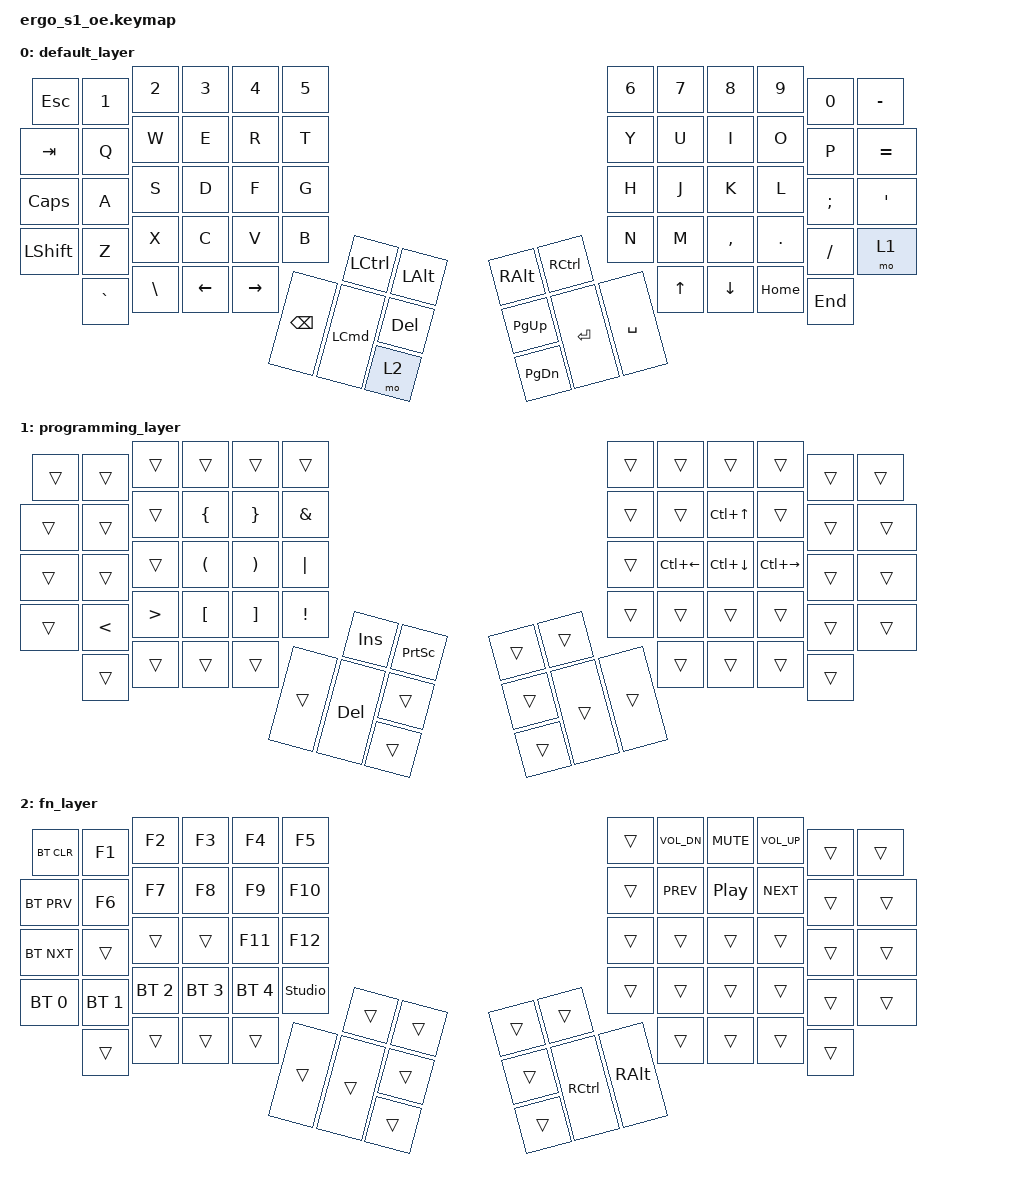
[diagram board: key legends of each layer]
/*
 * Copyright (c) 2021 The ZMK Contributors
 *
 * SPDX-License-Identifier: MIT
 */

#include <behaviors.dtsi>
#include <dt-bindings/zmk/keys.h>
#include <dt-bindings/zmk/bt.h>
#include <dt-bindings/zmk/ext_power.h>
#include <dt-bindings/zmk/outputs.h>
#include <behaviors/studio_unlock.dtsi>

 #define DEFAULT 0
 #define PROGRAMMING 1
 #define FN  2

/ {
       keymap {
              compatible = "zmk,keymap";

              default_layer {
// ---------------------------------------------------------------------------------------------------------------------------------
// | ESC  |  1   |  2   |  3   |  4   |  5   |                                                   |  6   |  7   |  8   |  9   |  0   | MINUS|
// | WIN  |  Q   |  W   |  E   |  R   |  T   |                                                   |  Y   |  U   |  I   |  O   |  P   | EQL  |
// | TAB  |  A   |  S   |  D   |  F   |  G   |                                                   |  H   |  J   |  K   |  L   | SCLN | SQT  |
// |LSHFT |  Z   |  X   |  C   |  V   |  B   |      | CTL  | ALT  |         | RALT | RCTL |      |  N   |  M   | COMM | DOT  | SLSH | PROG |
//        | GRV  | BSLS | LEFT | RGHT |      | BSPC | LCMD | DEL  |         | PGUP | ENT  | SPC  |      |  UP  |  DN  | LBKT | RBKT |
//                                                         |  FN  |         | PGDN |
                     bindings = <
        &kp ESC    &kp N1    &kp N2   &kp N3   &kp N4    &kp N5                                                                    &kp N6    &kp N7    &kp N8    &kp N9     &kp N0    &kp MINUS
        &kp TAB    &kp Q     &kp W    &kp E    &kp R     &kp T                                                                     &kp Y     &kp U     &kp I     &kp O      &kp P     &kp EQUAL
        &kp CAPS   &kp A     &kp S    &kp D    &kp F     &kp G                                                                     &kp H     &kp J     &kp K     &kp L      &kp SEMI  &kp SQT
        &kp LSHFT  &kp Z     &kp X    &kp C    &kp V     &kp B             &kp LCTRL &kp LALT  &kp RALT  &kp RCTRL                 &kp N     &kp M     &kp COMMA &kp PERIOD &kp SLASH &mo 1
                   &kp GRAVE &kp BSLH &kp LEFT &kp RIGHT         &kp BSPC  &kp LCMD  &kp DEL   &kp PG_UP &kp ENTER &kp SPACE       &kp UP    &kp DOWN  &kp HOME  &kp END
                                                                                     &mo 2     &kp PG_DN
                     >;
              };
              programming_layer {
              // ---------------------------------------------------------------------------------------------------------------------------------
// |    |      |      |      |      |      |                                                     |      |      |      |      |      |      |
// |    |      |      |  {   |  }   |  &   |                                                     |      |      |CTLUP |      |      |      |
// |    |      |      |  (   |  )   |  |   |                                                     |      |CTLLFT|CTLDN |CTLRGT|      |      |
// |    |  <   |  >   |  [   |  ]   |  !   |      |  INS  |PSCRN |         |      |      |       |      |      |      |      |      |      |
//      |      |      |      |      |      |      |  DEL  |      |         |      |      |       |      |      |      |      |      |
//                                                        |      |         |      |
                     bindings = <
        &trans    &trans   &trans    &trans      &trans       &trans                                                                   &trans     &trans       &trans       &trans        &trans  &trans
        &trans    &trans   &trans    &kp LBRC    &kp RBRC     &kp AMPS                                                                 &trans     &trans       &kp LC(UP)   &trans        &trans  &trans
        &trans    &trans   &trans    &kp LPAR    &kp RPAR     &kp PIPE                                                                 &trans     &kp LC(LEFT) &kp LC(DOWN) &kp LC(RIGHT) &trans  &trans
        &trans    &kp LT   &kp GT    &kp LBKT    &kp RBKT     &kp EXCL         &kp INS     &kp PSCRN   &trans  &trans                  &trans     &trans       &trans       &trans        &trans  &trans
                  &trans   &trans    &trans      &trans                 &trans &kp DEL     &trans      &trans  &trans &trans                      &trans       &trans       &trans        &trans
                                                                                           &trans      &trans
                     >;
              };

              fn_layer {
// ---------------------------------------------------------------------------------------------------------------------------------
// |BT_CLR|  F1  |  F2  |  F3  |  F4  |  F5  |                                                   |      |VOLDWN|MUTE  |VOLUP |      |      |
// |BT_PRV|  F6  |  F7  |  F8  |  F9  |  F10 |                                                   |      |TRPREV|PLAYPS|TRNEXT|      |      |
// |BT_NXT|      |      |      |      |      |                                                   |      |      |      |      |      |      |
// |BTSEL0|BTSEL1|BTSEL2|BTSEL3|BTSEL4|      |      |      |      |         |      |      |      |      |      |      |      |      |      |
//        |      |      |      |      |      |      |      |      |         |      |      |      |      |      |      |      |      |
//                                                         |      |         |      |
                     bindings = <
        &bt BT_CLR   &kp F1        &kp F2        &kp F3          &kp F4       &kp F5                                                                          &trans    &kp C_VOL_DN  &kp C_MUTE  &kp C_VOL_UP &trans  &trans
        &bt BT_PRV   &kp F6        &kp F7         &kp F8         &kp F9       &kp F10                                                                         &trans    &kp C_PREV    &kp C_PP    &kp C_NEXT   &trans  &trans
        &bt BT_NXT   &trans        &trans         &trans         &kp F11      &kp F12                                                                         &trans    &trans        &trans      &trans       &trans  &trans
        &bt BT_SEL 0 &bt BT_SEL 1  &bt BT_SEL 2   &bt BT_SEL 3   &bt BT_SEL 4 &studio_unlock              &trans    &trans    &trans    &trans                        &trans    &trans        &trans      &trans       &trans  &trans
                     &trans        &trans         &trans         &trans                &trans     &trans    &trans    &trans    &kp RCTRL &kp RALT                      &trans        &trans      &trans       &trans
                                                                                                            &trans    &trans
                     >;
              };

              extra1 {
                     status = "reserved";
              };

              extra2 {
                     status = "reserved";
              };

    };
};
